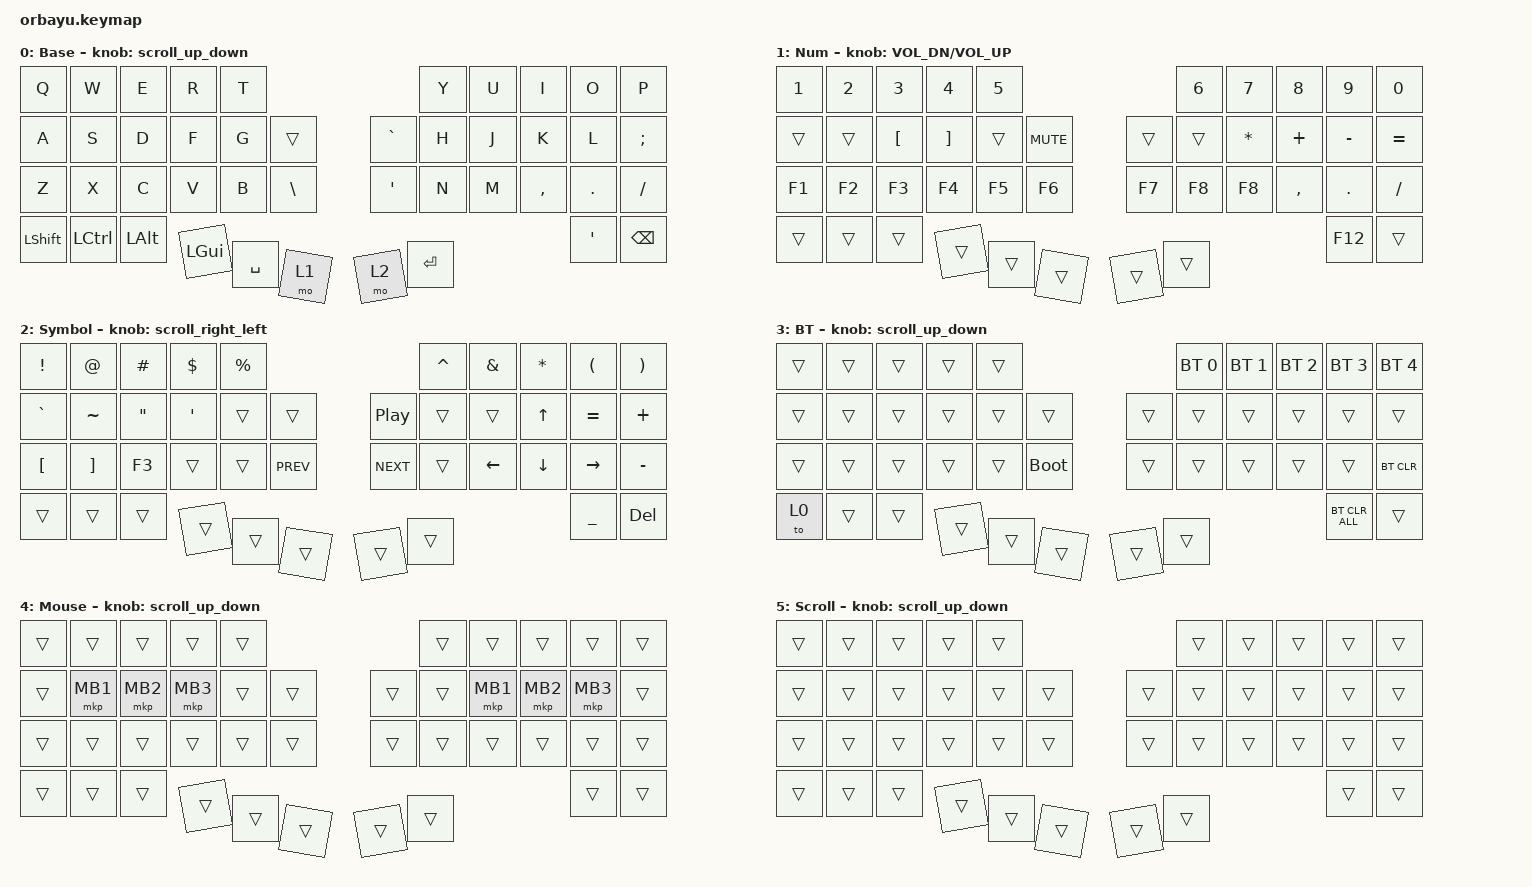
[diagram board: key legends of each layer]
// Orbayu keymap — 44 keys (23 left + 21 right) + EC11 encoder on left.
//
// Layer index:
//   0 = Base   — QWERTY + modifiers
//   1 = Num    — numbers, brackets, symbols shortcut
//   2 = Sym/Nav    — symbols, navigation, volume encoder
//   3 = BT     — Bluetooth profile management
//   4 = MOUSE  — mouse buttons (trackball moves cursor by default)
//   5 = SCROLL — trackball movement remapped to scroll wheel
//
// Key positions (binding-array order, 0-indexed):
//
//  LEFT                                    RIGHT
//  ┌─────────────────────────────┐   ┌─────────────────────────────┐
//  │  0   1   2   3   4          │   │       5   6   7   8   9     │  row 0 (10)
//  │ 10  11  12  13  14  15      │   │  16  17  18  19  20  21     │  row 1 (12)
//  │ 22  23  24  25  26  27      │   │  28  29  30  31  32  33     │  row 2 (12)
//  │ 34  35  36  37  38  39      │   │  40  41          42  43     │  row 3 (10)
//  └─────────────────────────────┘   └─────────────────────────────┘
//
// Combos:
//   11+12 (S+D)    → TAB
//   38+39 (⏎+DEL) → BT layer + ESC hold

// Must be defined before pointing.h so its #ifndef guard preserves our value.
#define ZMK_POINTING_DEFAULT_SCRL_VAL 100

#include <behaviors.dtsi>
#include <dt-bindings/zmk/bt.h>
#include <dt-bindings/zmk/keys.h>
#include <dt-bindings/zmk/pointing.h>
#define MOUSE  4
#define SCROLL 5

&mt {
    flavor = "balanced";
    quick-tap-ms = <0>;
};

&lt {
    quick-tap-ms = <300>;
    flavor = "balanced";
};

/ {
    combos {
        compatible = "zmk,combos";

        combo_tab {
            bindings = <&kp TAB>;
            key-positions = <11 12>;
        };

        combo_esc {
            bindings = <&kp ESC>;
            key-positions = <0 1>;
        };

        combo_btlayer {
            bindings = <&tog 3>;
            key-positions = <4 26>;
        };
    };

    behaviors {
        // EC11 encoder: rotate → vertical scroll
        scroll_up_down: mouse_wheel_up_down {
            compatible = "zmk,behavior-sensor-rotate";
            #sensor-binding-cells = <0>;
            bindings = <&msc SCRL_DOWN>, <&msc SCRL_UP>;
            tap-ms = <20>;
        };

        // EC11 encoder: rotate → horizontal scroll (Num layer)
        scroll_right_left: mouse_wheel_right_left {
            compatible = "zmk,behavior-sensor-rotate";
            #sensor-binding-cells = <0>;
            bindings = <&msc SCRL_LEFT>, <&msc SCRL_RIGHT>;
            tap-ms = <20>;
        };
    };

    keymap {
        compatible = "zmk,keymap";

        default_layer {
            display-name = "Base";
            bindings = <
/* col      1           2           3           4           5           6           7           8           9           10           11         12 */
/* row 0 */ &kp Q       &kp W       &kp E       &kp R       &kp T                               &kp Y       &kp U       &kp I        &kp O      &kp P
/* row 1 */ &kp A       &kp S       &kp D       &kp F       &kp G       &trans      &kp GRAVE   &kp H       &kp J       &kp K        &kp L      &kp SEMICOLON
/* row 2 */ &kp Z       &kp X       &kp C       &kp V       &kp B       &kp BSLH    &kp SQT     &kp N       &kp M       &kp COMMA    &kp DOT    &kp FSLH
/* row 3 */ &kp LSHIFT  &kp LCTRL   &kp LALT    &kp LGUI    &kp SPACE   &mo 1       &mo 2       &kp ENTER                            &kp SQT    &kp BSPC
            >;
            sensor-bindings = <&scroll_up_down>;
        };

        layer_1 {
            display-name = "Num";
            bindings = <
/* col      1           2           3           4           5           6           7           8           9           10           11         12 */
/* row 0 */ &kp N1      &kp N2      &kp N3      &kp N4      &kp N5                              &kp N6      &kp N7      &kp N8       &kp N9     &kp N0
/* row 1 */ &trans      &trans      &kp LBKT    &kp RBKT    &trans      &kp C_MUTE  &trans      &trans      &kp ASTRK   &kp PLUS     &kp MINUS  &kp EQUAL
/* row 2 */ &kp F1      &kp F2      &kp F3      &kp F4      &kp F5      &kp F6      &kp F7      &kp F8      &kp F8      &kp COMMA    &kp DOT    &kp FSLH
/* row 3 */ &trans      &trans      &trans      &trans      &trans      &trans      &trans      &trans                               &kp F12    &trans
            >;
            sensor-bindings = <&inc_dec_kp C_VOL_DN C_VOL_UP>;
        };

        layer_2 {
            display-name = "Symbol";
            bindings = <
/* col      1           2           3           4           5           6           7           8           9           10           11         12 */
/* row 0 */ &kp EXCL    &kp AT      &kp HASH    &kp DOLLAR  &kp PERCENT                         &kp CARET   &kp AMPS    &kp ASTERISK &kp LPAR   &kp RPAR
/* row 1 */ &kp GRAVE   &kp TILDE   &kp DQT     &kp SQT     &trans      &trans      &kp C_PP    &trans      &trans      &kp UP       &kp EQUAL  &kp PLUS
/* row 2 */ &kp LBKT    &kp RBKT    &kp F3      &trans      &trans      &kp C_PREV  &kp C_NEXT  &trans      &kp LEFT    &kp DOWN     &kp RIGHT  &kp MINUS
/* row 3 */ &trans      &trans      &trans      &trans      &trans      &trans      &trans      &trans                          &kp UNDERSCORE  &kp DEL
            >;
            sensor-bindings = <&scroll_right_left>;
        };

        layer_3 {
            display-name = "BT";
            bindings = <
/* col      1           2           3           4           5           6           7       8             9             10            11             12 */
/* row 0 */ &trans      &trans      &trans      &trans      &trans                          &bt BT_SEL 0  &bt BT_SEL 1  &bt BT_SEL 2  &bt BT_SEL 3   &bt BT_SEL 4
/* row 1 */ &trans      &trans      &trans      &trans      &trans      &trans      &trans  &trans        &trans        &trans        &trans         &trans
/* row 2 */ &trans      &trans      &trans      &trans      &trans      &bootloader &trans  &trans        &trans        &trans        &trans         &bt BT_CLR
/* row 3 */ &to 0      &trans      &trans      &trans      &trans      &trans      &trans  &trans                                    &bt BT_CLR_ALL &trans
            >;
            sensor-bindings = <&scroll_up_down>;
        };

        MOUSE {
            display-name = "Mouse";
            bindings = <
/* col      1           2           3           4           5           6           7           8           9           10           11         12 */
/* row 0 */ &trans      &trans      &trans      &trans      &trans                              &trans      &trans      &trans       &trans     &trans
/* row 1 */ &trans      &mkp MB1    &mkp MB2    &mkp MB3    &trans      &trans      &trans      &trans      &mkp MB1    &mkp MB2    &mkp MB3    &trans     
/* row 2 */ &trans      &trans      &trans      &trans      &trans      &trans      &trans      &trans      &trans      &trans       &trans     &trans
/* row 3 */ &trans      &trans      &trans      &trans      &trans      &trans      &trans      &trans                               &trans     &trans
            >;
            sensor-bindings = <&scroll_up_down>;
        };

        SCROLL {
            display-name = "Scroll";
            bindings = <
/* col      1           2           3           4           5           6           7           8           9           10           11         12 */
/* row 0 */ &trans      &trans      &trans      &trans      &trans                              &trans      &trans      &trans       &trans     &trans
/* row 1 */ &trans      &trans      &trans      &trans      &trans      &trans      &trans      &trans      &trans      &trans       &trans     &trans
/* row 2 */ &trans      &trans      &trans      &trans      &trans      &trans      &trans      &trans      &trans      &trans       &trans     &trans
/* row 2 */ &trans      &trans      &trans      &trans      &trans      &trans      &trans      &trans                               &trans     &trans
            >;
            sensor-bindings = <&scroll_up_down>;
        };
    };
};
